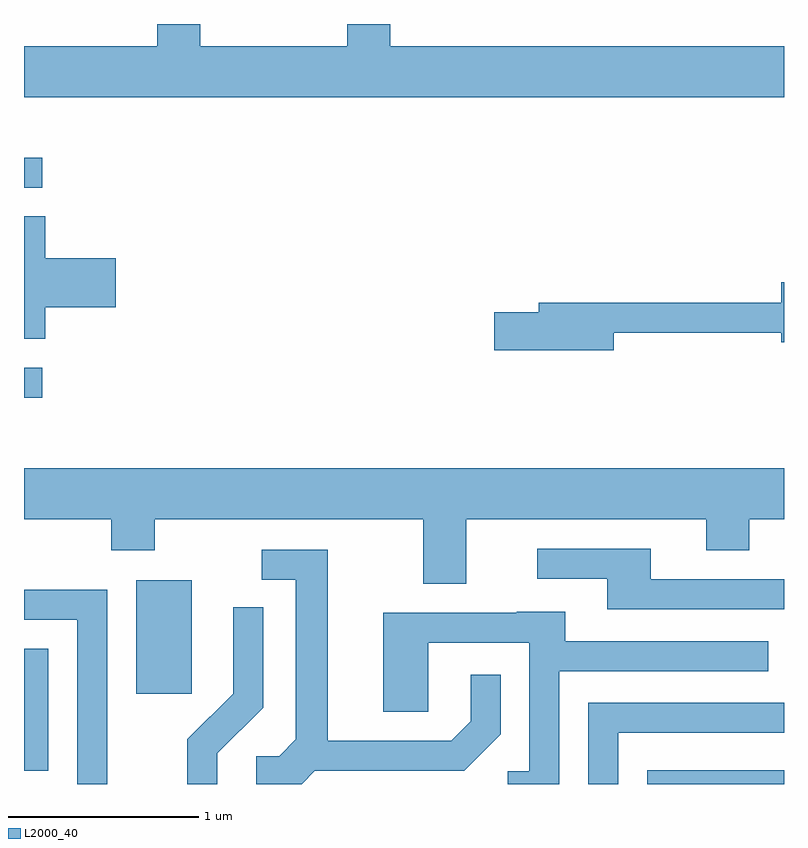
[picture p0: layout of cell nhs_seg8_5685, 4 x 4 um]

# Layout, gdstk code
import gdstk
lib = gdstk.Library(unit=1e-6, precision=1e-09)
def R(c, l, rs):  # rectangles x0, y0, x1, y1
    for r in rs: c.add(gdstk.rectangle(r[:2], r[2:], *l))
def P(c, l, *ps):  # polygons
    for p in ps: c.add(gdstk.Polygon(p, *l))
L2000_40 = (2000, 40)

nhs_seg8_5685 = lib.new_cell('nhs_seg8_5685')
R(nhs_seg8_5685, L2000_40, [(358.891,1848.342,359.611,1848.414), (355.611,1848.411,355.739,1849.054), (356.201,1848.816,356.494,1849.414), (355.611,1850.376,355.708,1850.534), (355.611,1851.481,355.708,1851.639)])
P(nhs_seg8_5685, L2000_40, [(359.611,1852.224),(357.539,1852.224),(357.539,1852.342),(357.311,1852.342),(357.311,1852.224),(356.539,1852.224),(356.539,1852.342),(356.311,1852.342),(356.311,1852.224),(355.611,1852.224),(355.611,1851.956),(359.611,1851.956)],
  [(355.724,1850.851),(356.094,1850.851),(356.094,1851.109),(355.724,1851.109),(355.724,1851.329),(355.611,1851.329),(355.611,1850.686),(355.724,1850.686)],
  [(358.714,1850.716),(359.596,1850.716),(359.596,1850.666),(359.611,1850.666),(359.611,1850.984),(359.596,1850.984),(359.596,1850.874),(358.321,1850.874),(358.321,1850.824),(358.086,1850.824),(358.086,1850.626),(358.714,1850.626)],
  [(357.939,1849.736),(359.201,1849.736),(359.201,1849.571),(359.429,1849.571),(359.429,1849.736),(359.611,1849.736),(359.611,1850.004),(355.611,1850.004),(355.611,1849.736),(356.071,1849.736),(356.071,1849.571),(356.299,1849.571),(356.299,1849.736),(357.711,1849.736),(357.711,1849.396),(357.939,1849.396)],
  [(359.611,1849.419),(358.909,1849.419),(358.909,1849.579),(358.313,1849.579),(358.313,1849.421),(358.681,1849.421),(358.681,1849.261),(359.611,1849.261)],
  [(357.142,1848.411),(357.927,1848.411),(358.119,1848.604),(358.119,1848.918),(357.961,1848.918),(357.961,1848.672),(357.859,1848.569),(357.209,1848.569),(357.209,1849.574),(356.863,1849.574),(356.863,1849.416),(357.041,1849.416),(357.041,1848.577),(356.954,1848.489),(356.833,1848.489),(356.833,1848.342),(357.073,1848.342)],
  [(356.049,1849.364),(355.611,1849.364),(355.611,1849.206),(355.891,1849.206),(355.891,1848.342),(356.049,1848.342)],
  [(356.629,1848.504),(356.869,1848.744),(356.869,1849.273),(356.711,1849.273),(356.711,1848.817),(356.471,1848.577),(356.471,1848.342),(356.629,1848.342)],
  [(358.429,1848.936),(359.528,1848.936),(359.528,1849.094),(358.459,1849.094),(358.459,1849.249),(358.205,1849.249),(358.205,1849.244),(357.501,1849.244),(357.501,1848.721),(357.739,1848.721),(357.739,1849.086),(358.271,1849.086),(358.271,1848.409),(358.158,1848.409),(358.158,1848.342),(358.429,1848.342)],
  [(358.739,1848.611),(359.611,1848.611),(359.611,1848.769),(358.581,1848.769),(358.581,1848.342),(358.739,1848.342)])

lib.write_gds('nhs_seg8_5685.gds')
